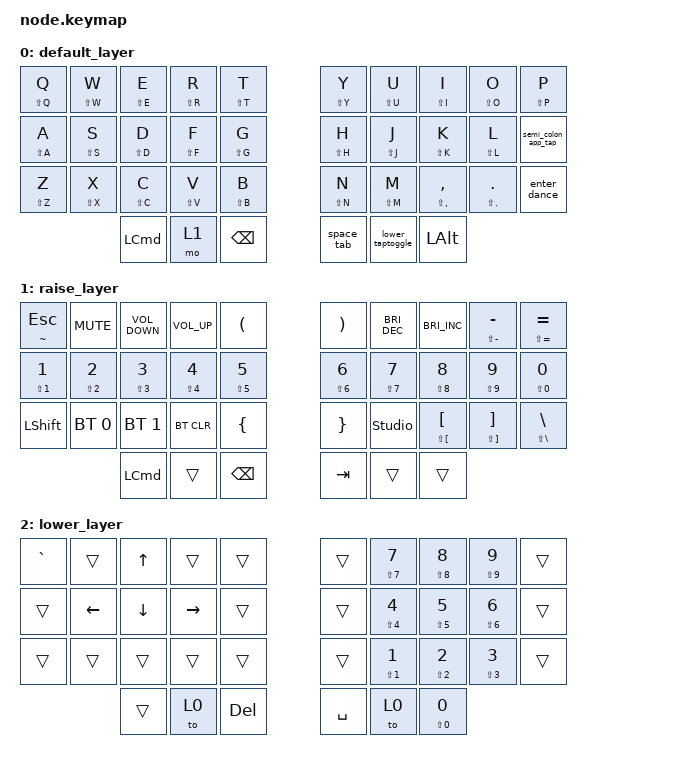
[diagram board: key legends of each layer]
#include <behaviors.dtsi>
#include <dt-bindings/zmk/bt.h>
#include <dt-bindings/zmk/keys.h>

#define DEFAULT 0
#define LOWER   1
#define RAISE   2

/ {
    combos { compatible = "zmk,combos"; };

    behaviors {
        enter_dance: enter_dance {
            compatible = "zmk,behavior-tap-dance";
            #binding-cells = <0>;
            bindings =
                <&auto_shift_short QUESTION ENTER>,
                <&auto_shift_short LS(ENTER) SLASH>;

            tapping-term-ms = <200>;
        };

        space_tab: space_tab {
            compatible = "zmk,behavior-tap-dance";
            #binding-cells = <0>;
            bindings = <&kp SPACE>, <&kp TAB>;
        };

        lower_taptoggle: lower_taptoggle {
            compatible = "zmk,behavior-tap-dance";
            #binding-cells = <0>;
            bindings = <&mo 2>, <&to 2>;
        };

        bootloader_tap: bootloader_tap {
            compatible = "zmk,behavior-tap-dance";
            #binding-cells = <0>;
            bindings = <&none>, <&bootloader>;
        };

        auto_shift: auto_shift {
            compatible = "zmk,behavior-hold-tap";
            bindings = <&kp>, <&kp>;

            #binding-cells = <2>;
            flavor = "tap-preferred";
            tapping-term-ms = <150>;
        };

        semi_colon_app_tap: semi_colon_app_tap {
            compatible = "zmk,behavior-tap-dance";
            #binding-cells = <0>;
            bindings =
                <&auto_shift_short LS(SEMI) SEMI>,
                <&auto_shift_short LS(APOSTROPHE) APOSTROPHE>;

            tapping-term-ms = <200>;
        };

        control_gui_tap_dance: control_gui_tap_dance {
            compatible = "zmk,behavior-tap-dance";
            #binding-cells = <0>;
            bindings = <&kp LEFT_CONTROL>, <&kp LEFT_GUI>;
        };

        auto_shift_short: auto_shift_short {
            compatible = "zmk,behavior-hold-tap";
            bindings = <&kp>, <&kp>;

            #binding-cells = <2>;
            tapping-term-ms = <100>;
            flavor = "tap-preferred";
        };
    };

    keymap {
        compatible = "zmk,keymap";

        default_layer {
            bindings = <
&auto_shift LS(Q) Q  &auto_shift LS(W) W  &auto_shift LS(E) E  &auto_shift LS(R) R  &auto_shift LS(T) T    &auto_shift LS(Y) Y  &auto_shift LS(U) U  &auto_shift LS(I) I          &auto_shift LS(O) O      &auto_shift LS(P) P
&auto_shift LS(A) A  &auto_shift LS(S) S  &auto_shift LS(D) D  &auto_shift LS(F) F  &auto_shift LS(G) G    &auto_shift LS(H) H  &auto_shift LS(J) J  &auto_shift LS(K) K          &auto_shift LS(L) L      &semi_colon_app_tap
&auto_shift LS(Z) Z  &auto_shift LS(X) X  &auto_shift LS(C) C  &auto_shift LS(V) V  &auto_shift LS(B) B    &auto_shift LS(N) N  &auto_shift LS(M) M  &auto_shift LS(COMMA) COMMA  &auto_shift LS(DOT) DOT  &enter_dance
                                          &kp LEFT_COMMAND     &mo 1                &kp BACKSPACE          &space_tab           &lower_taptoggle     &kp LEFT_ALT
            >;
        };

        raise_layer {
            bindings = <
&auto_shift TILDE ESCAPE           &kp K_MUTE                         &kp C_VOLUME_DOWN                  &kp C_VOLUME_UP                    &kp LEFT_PARENTHESIS     &kp RIGHT_PARENTHESIS              &kp C_BRIGHTNESS_DEC   &kp C_BRIGHTNESS_INC                       &auto_shift LS(MINUS) MINUS                  &auto_shift LS(EQUAL) EQUAL
&auto_shift LS(NUMBER_1) NUMBER_1  &auto_shift LS(NUMBER_2) NUMBER_2  &auto_shift LS(NUMBER_3) NUMBER_3  &auto_shift LS(NUMBER_4) NUMBER_4  &auto_shift LS(N5) N5    &auto_shift LS(NUMBER_6) NUMBER_6  &auto_shift LS(N7) N7  &auto_shift LS(N8) N8                      &auto_shift LS(N9) N9                        &auto_shift LS(N0) N0
&kp LEFT_SHIFT                     &bt BT_SEL 0                       &bt BT_SEL 1                       &bt BT_CLR                         &kp LEFT_BRACE           &kp RIGHT_BRACE                    &studio_unlock        &auto_shift LS(LEFT_BRACKET) LEFT_BRACKET  &auto_shift LS(RIGHT_BRACKET) RIGHT_BRACKET  &auto_shift LS(BACKSLASH) BACKSLASH
                                                                      &kp LEFT_COMMAND                   &trans                             &kp BACKSPACE            &kp TAB                            &trans                 &trans
            >;
        };

        lower_layer {
            bindings = <
&kp GRAVE  &trans    &kp UP_ARROW  &trans     &trans        &trans     &auto_shift LS(N7) N7              &auto_shift LS(N8) N8              &auto_shift LS(N9) N9              &trans
&trans     &kp LEFT  &kp DOWN      &kp RIGHT  &trans        &trans     &auto_shift LS(NUMBER_4) NUMBER_4  &auto_shift LS(N5) N5              &auto_shift LS(NUMBER_6) NUMBER_6  &trans
&trans     &trans    &trans        &trans     &trans        &trans     &auto_shift LS(NUMBER_1) NUMBER_1  &auto_shift LS(NUMBER_2) NUMBER_2  &auto_shift LS(NUMBER_3) NUMBER_3  &trans
                     &trans        &to 0      &kp DELETE    &kp SPACE  &to 0                              &auto_shift LS(N0) N0
            >;
        };

        layer_4 {
            status = "reserved";
        };

        layer_5 {
            status = "reserved";
        };

        layer_6 {
            status = "reserved";
        };
    };
};
